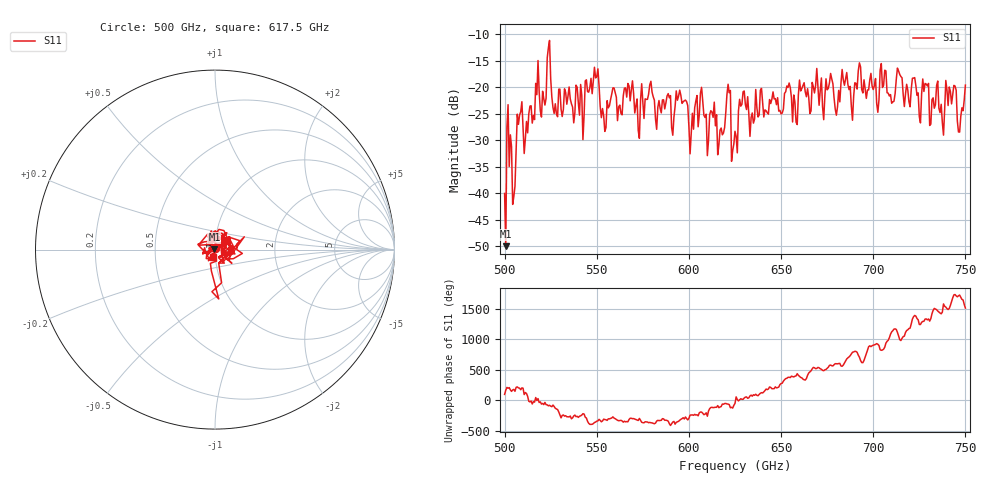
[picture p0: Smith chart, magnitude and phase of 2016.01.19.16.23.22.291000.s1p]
!Created with skrf (http://scikit-rf.org).
# GHz S RI R 50.0
!freq ReS11 ImS11
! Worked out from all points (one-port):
!   401 points, 500 GHz to 750 GHz, reference 50 ohm
!   lowest |S11| = -50.0 dB at 500.6 GHz (marker M1), VSWR 1.01, Z = 49.7 + j0.0957 ohm
!   |S11| at or under -10 dB: start of sweep to end of sweep
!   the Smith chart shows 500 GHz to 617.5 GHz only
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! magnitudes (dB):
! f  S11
! 500 GHz  -40.1
! 500.6 GHz  -50.0
! 502.5 GHz  -35.0
! 505 GHz  -40.6
! 508.1 GHz  -25.3
! 511.2 GHz  -29.8
! 517.5 GHz  -21.4
! 521.2 GHz  -22.2
! 523.8 GHz  -12.6
! 527.5 GHz  -23.1
! 531.2 GHz  -25.5
! 541.9 GHz  -21.6
! 549.4 GHz  -18.3
! 553.8 GHz  -25.4
! 558.8 GHz  -20.1
! 562.5 GHz  -23.4
! 593.8 GHz  -22.5
! 616.9 GHz  -28.1
! 621.2 GHz  -19.5
! 625 GHz  -28.3
! 628.8 GHz  -23.2
! 656.2 GHz  -26.6
! 687.5 GHz  -19.9
! 718.8 GHz  -20.6
! 737.5 GHz  -26.7
! 743.8 GHz  -19.7
! 746.9 GHz  -28.5
! 750 GHz  -19.6
